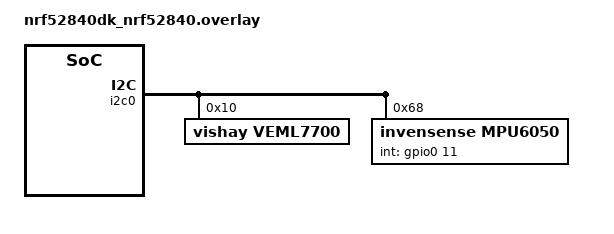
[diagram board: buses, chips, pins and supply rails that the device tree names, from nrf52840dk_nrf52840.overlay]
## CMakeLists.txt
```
#set our board
set(BOARD nrf52840dk_nrf52840)

cmake_minimum_required(VERSION 3.20.0)
find_package(Zephyr REQUIRED HINTS $ENV{ZEPHYR_BASE})
project(safe_biking)

FILE(GLOB app_sources src/*.c)
target_sources(app PRIVATE ${app_sources})
```

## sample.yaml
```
sample:
  name: VEML7700 Sensor sample
tests:
  sample.sensor.bme680:
    harness: sensor
    tags: samples sensor
    integration_platforms:
      - nrf52840dk_nrf52840
    platform_allow: nrf52840dk_nrf52840
```

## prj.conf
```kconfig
CONFIG_STDOUT_CONSOLE=y
CONFIG_NEWLIB_LIBC=y
CONFIG_NEWLIB_LIBC_FLOAT_PRINTF=y
CONFIG_I2C=y
CONFIG_SENSOR=y
CONFIG_VEML7700=y

CONFIG_USE_SEGGER_RTT=n
CONFIG_RTT_CONSOLE=n
CONFIG_UART_CONSOLE=y

CONFIG_PWM=y
CONFIG_LOG=y
CONFIG_LOG_MODE_IMMEDIATE=y


CONFIG_MPU6050=y
CONFIG_MPU6050_TRIGGER_NONE=y
CONFIG_CBPRINTF_FP_SUPPORT=y
```

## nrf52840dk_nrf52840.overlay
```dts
 /*
 * ES Project: Group 5
 * @authors: Jiaying Wu, Aya Elbadri, Zhaoyuan Qin, Yuzhi Chen
 * overlay file
 *
 */

&i2c0 {
	veml7700@10 {
		compatible = "vishay,veml7700";
		reg = <0x10>;
		label = "VEML7700";
		als-it = <100>;
		gain = "x1/4";
		persistence = <1>;
		enable-psm;
		psm-mode = "mode 1";
	};

	mpu6050@68 {
		compatible = "invensense,mpu6050";
		reg = <0x68>;
		status = "okay";
		label = "MPU6050";
		int-gpios = <&gpio0 11 GPIO_ACTIVE_HIGH>;
	};
};
```

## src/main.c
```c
 /*
 * ES Project: Group 5
 * @authors: Jiaying Wu, Aya Elbadri, Zhaoyuan Qin, Yuzhi Chen
 * main.c
 *
 */

#include <zephyr.h>
#include <device.h>
#include <drivers/sensor.h>
#include <stdio.h>

#include <drivers/pwm.h>
#include <devicetree.h>
#include <drivers/gpio.h>
#include <math.h>

/* Size for K thread */
#define MY_STACK_SIZE 1000

#define BUTTON_DEBOUNCE_DELAY_MS 100

/* Get PWM bindings info from device tree */
#define PWM_LED0_NODE DT_ALIAS(pwm_led0)
#if DT_NODE_HAS_STATUS(PWM_LED0_NODE, okay)
#define PWM_CTLR DT_PWMS_CTLR(PWM_LED0_NODE)
#define PWM_CHANNEL DT_PWMS_CHANNEL(PWM_LED0_NODE)
#define PWM_FLAGS DT_PWMS_FLAGS(PWM_LED0_NODE)
#else
#error "Unsupported board: pwm-led0 devicetree alias is not defined"
#define PWM_CTLR DT_INVALID_NODE
#define PWM_CHANNEL 0
#define PWM_FLAGS 0
#endif

/* Get LED0  bindings info from device tree */
#define LED0_NODE 	DT_ALIAS(led0)
#define LED0		DT_GPIO_LABEL(LED0_NODE, gpios)
#define LED0_PIN	DT_GPIO_PIN(LED0_NODE, gpios)
#define LED0_FLAGS	DT_GPIO_FLAGS(LED0_NODE, gpios)

/* Define period and duty cycles for PWM */
#define PERIOD 20000/1U
#define PULSE0 20000/1U  
#define PULSE1 16000/1U
#define PULSE2 12000/1U
#define PULSE3 8000/1U
#define PULSE4 4000/1U
#define PULSE5 0

/* Define two timers*/
K_TIMER_DEFINE(sos_timer, NULL, NULL);
K_TIMER_DEFINE(move_timer, NULL, NULL);

struct k_mutex my_mutex;
int k_mutex_init(struct k_mutex * my_mutex);

int move_timer_flag = 0;
int sos_timer_flag = 0;
int brake_flag = 0;

typedef enum _light_state 
{
    bright_zero,
    bright_one,
    bright_two,
    bright_three,
    bright_four,
    brake_light,
    sos_blink
}light_state_t;

typedef enum _veml_state
{
    no_move,
    move
}veml_state_t;

typedef enum _brake_state
{
    no_brake,
    brake
}brake_state_t;

typedef enum _sos_state
{
    no_sos,
    sos
}sos_state_t;

static volatile light_state_t global_state = bright_zero;
static volatile light_state_t state1 = bright_zero; 
static volatile veml_state_t state_move = no_move;
static volatile brake_state_t state_brake = no_brake;
static volatile sos_state_t state_sos = no_sos;

/**** << START >> ********* BLINKY TASK ***************/
void blinky_task()
{
    const struct device *pwm;
    int ret;
    pwm = DEVICE_DT_GET(PWM_CTLR);

    /* Set up LED */
	const struct device *led0;
	led0 = device_get_binding(LED0);
	gpio_pin_configure(led0, LED0_PIN, GPIO_OUTPUT_ACTIVE | LED0_FLAGS);
		
    while (1) 
    {
        k_msleep(100);

        k_mutex_lock(&my_mutex, K_FOREVER); 
        state1 = global_state;  // read current state
        k_mutex_unlock(&my_mutex); 

        if(state1==bright_zero)  
        {   ret = pwm_pin_set_usec(pwm, PWM_CHANNEL, PERIOD, PULSE0, PWM_FLAGS);

        }else if(state1==bright_one){
            ret = pwm_pin_set_usec(pwm, PWM_CHANNEL, PERIOD, PULSE1, PWM_FLAGS);
           
        }else if(state1==bright_two){
            ret = pwm_pin_set_usec(pwm, PWM_CHANNEL, PERIOD, PULSE2, PWM_FLAGS);
            
        }else if(state1==bright_three){
            ret = pwm_pin_set_usec(pwm, PWM_CHANNEL, PERIOD, PULSE3, PWM_FLAGS);
           
        }else if(state1==bright_four){
            ret = pwm_pin_set_usec(pwm, PWM_CHANNEL, PERIOD, PULSE4, PWM_FLAGS);
            
        }else if(state1==brake_light){ // maximum brightness
            ret = pwm_pin_set_usec(pwm, PWM_CHANNEL, PERIOD, PULSE5, PWM_FLAGS);
            printf("*******************BRAKE*************************\n");
        }else if(state1==sos_blink){
            printf("-----------------state_sos-----------------------\n");
            ret = pwm_pin_set_usec(pwm, PWM_CHANNEL, PERIOD, PULSE0, PWM_FLAGS); 
            gpio_pin_set(led0,LED0_PIN,0); k_msleep(150);
            gpio_pin_set(led0,LED0_PIN,1); k_msleep(200);
            gpio_pin_set(led0,LED0_PIN,0); k_msleep(150);
            gpio_pin_set(led0,LED0_PIN,1); k_msleep(200);
            gpio_pin_set(led0,LED0_PIN,0); k_msleep(150);
            gpio_pin_set(led0,LED0_PIN,1); k_msleep(200);

            gpio_pin_set(led0,LED0_PIN,0); k_msleep(500);
            gpio_pin_set(led0,LED0_PIN,1); k_msleep(200);
            gpio_pin_set(led0,LED0_PIN,0); k_msleep(500);
            gpio_pin_set(led0,LED0_PIN,1); k_msleep(200);
            gpio_pin_set(led0,LED0_PIN,0); k_msleep(500);
            gpio_pin_set(led0,LED0_PIN,1); k_msleep(200);

            gpio_pin_set(led0,LED0_PIN,0); k_msleep(150);
            gpio_pin_set(led0,LED0_PIN,1); k_msleep(200);
            gpio_pin_set(led0,LED0_PIN,0); k_msleep(150);
            gpio_pin_set(led0,LED0_PIN,1); k_msleep(200);
            gpio_pin_set(led0,LED0_PIN,0); k_msleep(150);
            gpio_pin_set(led0,LED0_PIN,1); k_msleep(500);
            
        }
    }
}
/**** << END >> ********* BLINKY TASK ***************/


/**** << START >> ********* VEML7700 TASK ***************/
void veml7700_task()
{
    const struct device *veml7700 = device_get_binding("VEML7700");

    if (veml7700 == NULL) 
    {
        printf("No device \"%s\" found; did initialization fail?\n", "VEML7700");
        return -1;
    }

    struct sensor_value lux;

    while (true) 
    {
        if((state_move == move)&&(state_brake == no_brake)&&(state_sos == no_sos))
        {
                sensor_sample_fetch(veml7700);
                sensor_channel_get(veml7700, SENSOR_CHAN_LIGHT, &lux);
                printf("  Lux: %f\n", sensor_value_to_double(&lux));

                if( sensor_value_to_double(&lux) >= 1000 )
                {
                    global_state = bright_zero;
                } 
                else if( (100 <= sensor_value_to_double(&lux)) && (sensor_value_to_double(&lux) < 1000 ))
                {
                    global_state = bright_one;
                }
                else if( (200 <= sensor_value_to_double(&lux)) && (sensor_value_to_double(&lux) < 500 ))
                {
                    global_state = bright_two;
                }
                else if( (50 <= sensor_value_to_double(&lux)) && (sensor_value_to_double(&lux) < 200 ))
                {
                    global_state = bright_three;
                }
                else if( sensor_value_to_double(&lux) < 50)
                {
                    global_state = bright_four;
                } 
                    k_msleep(1000);
        }else{
            printf("  ");
            k_msleep(1000);
        }
    }
}
/**** << END >> ********* VEML7700 TASK ***************/


/* Get SW1  bindings info from device tree */
#define SW1_NODE DT_ALIAS(sw1)
#define SW1 DT_GPIO_LABEL(SW1_NODE, gpios)
#define SW1_PIN DT_GPIO_PIN(SW1_NODE, gpios)
#define SW1_FLAGS (GPIO_INPUT | DT_GPIO_FLAGS(SW1_NODE, gpios))

/* Get SW2  bindings info from device tree */
#define SW2_NODE DT_ALIAS(sw2)
#define SW2 DT_GPIO_LABEL(SW2_NODE, gpios)
#define SW2_PIN DT_GPIO_PIN(SW2_NODE, gpios)
#define SW2_FLAGS (GPIO_INPUT | DT_GPIO_FLAGS(SW2_NODE, gpios))

/* For button pressed */
static uint32_t time, last_time=0;
static struct gpio_callback button_cb_data_2;


/**** << START >> *** BUTTON DEBOUNCING ***********/
void button_pressed(const struct device *dev, struct gpio_callback *cb, uint32_t pins)
{
    time = k_uptime_get_32();

    if (time < last_time + BUTTON_DEBOUNCE_DELAY_MS)
    {
        last_time = time;
        return;
    }
    if(pins == BIT(SW2_PIN))
    {
        k_timer_stop(&sos_timer); //stop timer once the button is pressed
    } 
    last_time = time;
}
/**** << END >> *** BUTTON DEBOUNCING ***********/


/**** << START >> *** USE GYROSCOPE FOR MOVE/FALL DETECTION ***********/
double x_axis, y_axis, z_axis;
int gyro_counter = 0;	
int gyro_i, gyro_j = 0;
double gx_axis_collect[5]; // store the latest 5 values
double gy_axis_collect[5];
double gz_axis_collect[5];

int flag_fall = 0;
int flag_move = 0;

static int process_mpu6050(const struct device *dev)
{
    struct sensor_value temperature;
	struct sensor_value gyro[3];
	int rc = sensor_sample_fetch(dev);

	if (rc == 0) 
    {
		rc = sensor_channel_get(dev, SENSOR_CHAN_GYRO_XYZ, gyro);
        rc = sensor_channel_get(dev, SENSOR_CHAN_AMBIENT_TEMP, &temperature);
	
		x_axis = sensor_value_to_double(&gyro[0]);
		y_axis = sensor_value_to_double(&gyro[1]);
		z_axis = sensor_value_to_double(&gyro[2]);
    
	    flag_fall = 0;
	    flag_move = 0;

        if(gyro_counter < 5) 
            {
                gyro_counter = gyro_counter + 1;
                gx_axis_collect[gyro_j] = x_axis;
                gy_axis_collect[gyro_j] = y_axis;
                gz_axis_collect[gyro_j] = z_axis;
                
                if(gyro_j == 4) {gyro_j = 0;} else {gyro_j = gyro_j+1;}

                printf("%d\n", gyro_counter);
            }else   // the first 5 values has already been written into the array
            {
                for(gyro_i = 0; gyro_i < 5; gyro_i++)
                {
                    /* After comparison, if the difference is over 2, fall action is confirmed
                    Otherwise it is normal movement (0.2, 2) */
                    if( ((fabs(gx_axis_collect[gyro_i] - x_axis) > 2)&&(fabs(gy_axis_collect[gyro_i] - y_axis) > 2))
                    ||  ((fabs(gx_axis_collect[gyro_i] - x_axis) > 2)&&(fabs(gz_axis_collect[gyro_i] - z_axis) > 2))
                    ||  ((fabs(gy_axis_collect[gyro_i] - y_axis) > 2)&&(fabs(gz_axis_collect[gyro_i] - z_axis) > 2)) )
                    { 
                        flag_fall ++;
                    }else if(
                        ((fabs(gx_axis_collect[gyro_i] - x_axis) > 0.2)&&(fabs(gy_axis_collect[gyro_i] - y_axis) > 0.2))
                    ||  ((fabs(gx_axis_collect[gyro_i] - x_axis) > 0.2)&&(fabs(gz_axis_collect[gyro_i] - z_axis) > 0.2))
                    ||  ((fabs(gy_axis_collect[gyro_i] - y_axis) > 0.2)&&(fabs(gz_axis_collect[gyro_i] - z_axis) > 0.2)) )
                    {
                        flag_move ++;
                    }
                }

                gx_axis_collect[gyro_j] = x_axis;
                gy_axis_collect[gyro_j] = y_axis;
                gz_axis_collect[gyro_j] = z_axis;

                if(gyro_j == 4) {gyro_j = 0;} else {gyro_j = gyro_j+1;}
            }
        if(flag_fall > 3)
        {
            printf("      Fall is detected!!!!!!!!!!!\n");
            sos_timer_flag = 1;
            k_timer_start(&sos_timer, K_SECONDS(7), K_SECONDS(1));
        }
        else if(flag_move > 2)
        {
            printf("      The bike is moving .............\n");
            move_timer_flag = 1;
            state_move = move;
            k_timer_start(&move_timer, K_SECONDS(15), K_SECONDS(0)); // restart every movement happens
        }
            printf( "  Temperature : %g Cel\n" 
                    "  gyro  %f %f %f rad/s\n",
            sensor_value_to_double(&temperature),
            sensor_value_to_double(&gyro[0]),
            sensor_value_to_double(&gyro[1]),
            sensor_value_to_double(&gyro[2]));
	} else 
    {
		printf("sample fetch/get failed: %d\n", rc);
	}
	return rc;
    k_msleep(200);
}
/**** << END >> *** USE GYROSCOPE FOR MOVE/FALL DETECTION ***********/


/**** << START >> *** CONFIG_MPU6050_TRIGGER ***********/
#ifdef CONFIG_MPU6050_TRIGGER
static struct sensor_trigger trigger;

static void handle_mpu6050_drdy(const struct device *dev,
				struct sensor_trigger *trig)
{
	int rc = process_mpu6050(dev);

	if (rc != 0) {
		printf("cancelling trigger due to failure: %d\n", rc);
		(void)sensor_trigger_set(dev, trig, NULL);
		return;
	}
}
#endif 
/**** << END >> *** CONFIG_MPU6050_TRIGGER ***********/


/**** << START >> ********* MPU6050 TASK ***************/
void mpu6050_task()
{
    const char *const label = DT_LABEL(DT_INST(0, invensense_mpu6050));
	const struct device *mpu6050 = device_get_binding(label);

	if (!mpu6050) {
		printf("Failed to find sensor %s\n", label);
		return;
	}

#ifdef CONFIG_MPU6050_TRIGGER
	trigger = (struct sensor_trigger) {
		.type = SENSOR_TRIG_DATA_READY,
		.chan = SENSOR_CHAN_ALL,
	};
	if (sensor_trigger_set(mpu6050, &trigger,
			       handle_mpu6050_drdy) < 0) {
		printf("Cannot configure trigger\n");
		return;
	}
	printk("Configured for triggered sampling.\n");
#endif

	while (!IS_ENABLED(CONFIG_MPU6050_TRIGGER)) {
		int rc = process_mpu6050(mpu6050);

		if (rc != 0) {
			printf("°°°°°°°°°Pass out°°°°°°°°° \n");
			//break;
		}
		k_msleep(1000);
	}
	/* triggered runs with its own thread after exit */
}
/**** << END >> ********* MPU6050 TASK ***************/


/**** << START >> ********* BRAKE TASK ***************/
void brake_task()
{
    /* Set up button1 interrupt */
    const struct device *sw1;
    sw1 = device_get_binding(SW1);
    gpio_pin_configure(sw1, SW1_PIN, GPIO_INPUT | SW1_FLAGS);
    gpio_pin_interrupt_configure(sw1, SW1_PIN, GPIO_INT_EDGE_TO_ACTIVE);
    
    while(1)
    {   
        k_msleep(100);
        if (gpio_pin_get_raw(sw1,SW1_PIN)==0){
            while(1)
            {
                if(gpio_pin_get_raw(sw1,SW1_PIN)==0)
                {
                    global_state = brake_light;
                    state_brake = brake;

                } else
                {
                    state_brake = no_brake;
                    global_state = bright_zero;
                    brake_flag = 0;
                    break;
                }
                k_msleep(100);   
            }
        }
    }   
}
/**** << END >> ********* BRAKE TASK ***************/


/**** << START >> ********* SOS TASK ***************/
void sos_task()
{
    /* Set up button interrupt */
    const struct device *sw2;
    sw2 = device_get_binding(SW2);
    gpio_pin_configure(sw2, SW2_PIN, GPIO_INPUT | SW2_FLAGS);
    gpio_pin_interrupt_configure(sw2, SW2_PIN, GPIO_INT_EDGE_TO_ACTIVE);
    gpio_init_callback(&button_cb_data_2, button_pressed, BIT(SW2_PIN));
    gpio_add_callback(sw2, &button_cb_data_2);
    
   while(1)
   {    if (sos_timer_flag == 1)
        { 
            while(1)
            {
                /* check timer status */
                if (k_timer_status_get(&sos_timer) > 0) 
                {
                    /* timer has expired */
                    printf("SOS!!!!!!!!!!!\n");
                    global_state = sos_blink;
                    state_sos = sos;
                } else if (k_timer_remaining_get(&sos_timer) == 0) 
                {
                    /* timer was stopped (by someone else) before expiring */
                    state_sos = no_sos;
                    sos_timer_flag = 0;
                    global_state = bright_zero;
                    
                    break;
                } else 
                {
                    printf("sos timer running \n");
                }
                k_msleep(1000);
            }
        }
        k_msleep(1000);
   }
}
/**** << END >> ********* SOS TASK ***************/


/**** << START >> *********  MOVE TIMER TASK ***************/
void move_timer_task()
{
    while(1)
    {
        if(move_timer_flag == 1)
        {
            while(1)
            {
                    /* check timer status */
                if (k_timer_status_get(&move_timer) > 0) 
                {
                    /* timer has expired */
                    state_move = no_move;
                    global_state = bright_zero;
                    move_timer_flag = 0;
                    break;
                } 
                k_msleep(1000);
             }
        }
        printf("  NO MOVEMENT  ");
        k_msleep(1000);
    }   
}
/**** << >END >> *********  MOVE TIMER TASK ***************/


K_THREAD_DEFINE(move_timer_id, MY_STACK_SIZE, move_timer_task, 
NULL, NULL, NULL, 6, 0, 0);

K_THREAD_DEFINE(sos_id, MY_STACK_SIZE, sos_task,
NULL, NULL, NULL, 5, 0, 0);

K_THREAD_DEFINE(blinky_id, MY_STACK_SIZE, blinky_task,
NULL, NULL, NULL, 4, 0, 0);

K_THREAD_DEFINE(veml7700_id, MY_STACK_SIZE, veml7700_task,
NULL, NULL, NULL, 3, 0, 0); 

K_THREAD_DEFINE(mpu6050_id, MY_STACK_SIZE, mpu6050_task,
NULL, NULL, NULL, 2, 0, 0); 

K_THREAD_DEFINE(brake_id, MY_STACK_SIZE, brake_task,
NULL, NULL, NULL, 1, 0, 0); 
```
